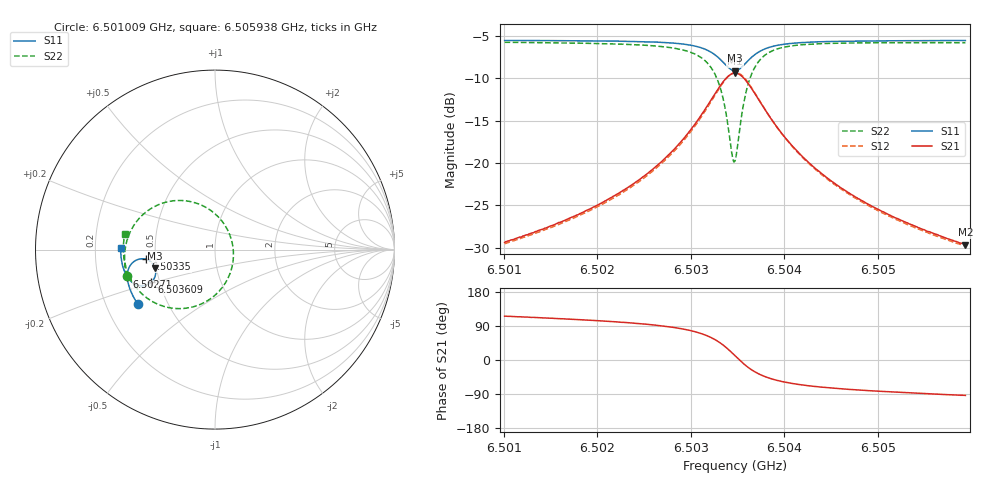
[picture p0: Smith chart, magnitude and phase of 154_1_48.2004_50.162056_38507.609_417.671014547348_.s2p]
#  HZ  S  RI  R  50.00
! Rohde & Schwarz Vector Network Analyzer
! Rohde-Schwarz,ZNB20-2Port,1311601062101988,3.16
! Created: UTC 3/20/2024, 11:42:56 AM
! freq[Hz]  re:S11  im:S11  re:S21  im:S21  re:S12  im:S12  re:S22  im:S22
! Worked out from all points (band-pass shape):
!   401 points, 6.501009 GHz to 6.505938 GHz, reference 50 ohm
!   highest |S21| = -9.42 dB at 6.503473 GHz (marker M1); lowest = -29.6 dB at 6.505938 GHz (marker M2)
!   |S21| within 3 dB of the highest: 6.503226 GHz to 6.50372 GHz (493.7 kHz wide, 0.00759 % of centre)
!   lowest |S11| = -9.1 dB at 6.503473 GHz (marker M3), VSWR 2.07, Z = 24.5 - j5.85 ohm
!   |S11| at or under -10 dB: nowhere
!   |S22| runs from -19.9 to -5.8 dB; largest |S21 - S12| = 0.012
!   S11 on the Smith chart (normalised r, x): 6.501009 GHz: 0.34, -0.29; 6.50271 GHz: 0.33, -0.14; 6.50335 GHz: 0.44, -0.06; 6.503609 GHz: 0.45, -0.19; 6.505938 GHz: 0.31, +0.01
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6.5010094e9  -0.4289 -0.3054  -0.0147 0.0308  -0.0131 0.0309  -0.4918 -0.1481
6.5018349e9  -0.4641 -0.2437  -0.0141 0.0488  -0.0117 0.0485  -0.5038 -0.0592
6.5022538e9  -0.4787 -0.2065  -0.0113 0.0668  -0.00843 0.0655  -0.5009 0.000615
6.5026603e9  -0.4882 -0.1614  -0.00149 0.0988  0.00203 0.0965  -0.4795 0.0826
6.5027096e9  -0.4886 -0.1548  0.00088 0.1046  0.00469 0.1019  -0.4738 0.0954
6.5029437e9  -0.4852 -0.118  0.0236 0.1414  0.0274 0.1371  -0.4263 0.1696
6.5031039e9  -0.4706 -0.0858  0.0631 0.1774  0.0659 0.1715  -0.3494 0.2331
6.5032517e9  -0.4329 -0.0563  0.1449 0.206  0.1457 0.1997  -0.2003 0.2737
6.5033503e9  -0.3866 -0.0535  0.2361 0.1892  0.2364 0.1842  -0.0421 0.2304
6.5034365e9  -0.344 -0.0825  0.3141 0.1145  0.3164 0.11  0.082 0.0832
6.5034612e9  -0.336 -0.0968  0.3273 0.0828  0.3304 0.0776  0.0987 0.0231
6.5034735e9  -0.3332 -0.1045  0.3316 0.0659  0.335 0.0602  0.1023 -0.00826
6.5034981e9  -0.3303 -0.1206  0.3347 0.0315  0.3387 0.0244  0.0998 -0.0717
6.5035351e9  -0.3326 -0.1445  0.3275 -0.0187  0.3308 -0.0277  0.0723 -0.16
6.503609e9  -0.3546 -0.1813  0.281 -0.0946  0.2805 -0.1062  -0.0378 -0.2823
6.5037199e9  -0.4 -0.2013  0.1943 -0.1398  0.1888 -0.1495  -0.2134 -0.3286
6.5038801e9  -0.4472 -0.1917  0.1106 -0.136  0.1035 -0.1412  -0.3642 -0.28
6.5040526e9  -0.4749 -0.1703  0.0653 -0.1152  0.0587 -0.1175  -0.4377 -0.2136
6.504299e9  -0.4959 -0.1405  0.0345 -0.0901  0.0298 -0.0906  -0.4817 -0.14
6.5046932e9  -0.5122 -0.099  0.0144 -0.065  0.0111 -0.0646  -0.5052 -0.0603
6.5051245e9  -0.5209 -0.059  0.00518 -0.0492  0.00289 -0.0486  -0.5107 0.00133
6.5059376e9  -0.5259 0.0102  -0.00201 -0.033  -0.00338 -0.0322  -0.503 0.0888
